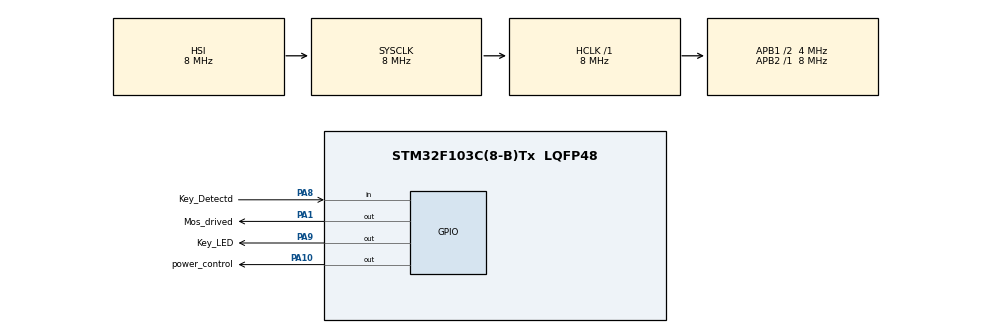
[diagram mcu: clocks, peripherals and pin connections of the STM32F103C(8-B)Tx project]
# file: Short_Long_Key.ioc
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Mcu.Family=STM32F1
Mcu.Name=STM32F103C(8-B)Tx
Mcu.Package=LQFP48
NVIC.PriorityGroup=NVIC_PRIORITYGROUP_4
PA1.GPIO_Label=Mos_drived
PA1.GPIO_Speed=GPIO_SPEED_FREQ_HIGH
PA1.Signal=GPIO_Output
PA10.GPIO_Label=power_control
PA10.GPIO_Speed=GPIO_SPEED_FREQ_HIGH
PA10.PinState=GPIO_PIN_SET
PA10.Signal=GPIO_Output
PA13.Mode=Serial_Wire
PA13.Signal=SYS_JTMS-SWDIO
PA14.Mode=Serial_Wire
PA14.Signal=SYS_JTCK-SWCLK
PA8.GPIO_Label=Key_Detectd
PA8.GPIO_PuPd=GPIO_PULLUP
PA8.Signal=GPIO_Input
PA9.GPIO_Label=Key_LED
PA9.GPIO_Speed=GPIO_SPEED_FREQ_HIGH
PA9.Signal=GPIO_Output
ProjectManager.HeapSize=0x200
ProjectManager.StackSize=0x400
ProjectManager.TargetToolchain=MDK-ARM V5.27
RCC.AHBFreq_Value=8000000
RCC.APB1CLKDivider=RCC_HCLK_DIV2
RCC.APB1Freq_Value=4000000
RCC.APB1TimFreq_Value=8000000
RCC.APB2Freq_Value=8000000
RCC.APB2TimFreq_Value=8000000
RCC.HCLKFreq_Value=8000000
RCC.PLLMUL=RCC_PLL_MUL16
RCC.SYSCLKFreq_VALUE=8000000
RCC.USBFreq_Value=64000000
board=custom

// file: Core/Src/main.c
/* USER CODE BEGIN Header */
/**
  ******************************************************************************
  * @file           : main.c
  * @brief          : Main program body
  ******************************************************************************
  * @attention
  *
  * <h2><center>&copy; Copyright (c) 2026 STMicroelectronics.
  * All rights reserved.</center></h2>
  *
  * This software component is licensed by ST under BSD 3-Clause license,
  * the "License"; You may not use this file except in compliance with the
  * License. You may obtain a copy of the License at:
  *                        opensource.org/licenses/BSD-3-Clause
  *
  ******************************************************************************
  */
/* USER CODE END Header */
#include "main.h"
#include "gpio.h"

/* USER CODE BEGIN PTD */
typedef enum
{
  WAIT_POWER_ON_CONFIRM = 0,  /* 开机确认阶段：第一次短按由硬件完成，软件等待松开后再检测第二次长按。 */
  NORMAL_RUN,                 /* 正常运行阶段：power_control(PA10) 保持高电平，系统已经自保持供电。 */
  WAIT_SHUTDOWN_CONFIRM,      /* 关机确认阶段：已检测到有效短按，等待窗口内的第二次长按。 */
  POWER_OFF                   /* 断电阶段：power_control(PA10) 已释放或即将释放，程序通常会随电源关闭停止运行。 */
} PowerState_t;

/* USER CODE END PTD */

/* USER CODE BEGIN PD */
/* 按键消抖时间：过小容易受抖动误触发，过大会让按键响应变迟钝。 */
#define KEY_DEBOUNCE_MS              30U
/* 有效短按的最短时间：过滤毛刺或极短误碰。 */
#define SHORT_PRESS_MIN_MS           50U
/* 有效短按的最长时间：超过该时间视为长按/无效按住，直接长按不能触发关机。 */
#define SHORT_PRESS_MAX_MS           500U

/* 短按释放后等待第二次按下的时间窗口：超时则本次“短按 + 长按”组合失效。 */
#define SECOND_PRESS_WINDOW_MS       2000U

/* 开机确认长按时间：第二次按下必须持续达到该时间，才确认开机成功。 */
#define POWER_ON_LONG_PRESS_MS       1000U
/* 关机确认长按时间：第二次按下必须持续达到该时间，才执行关机。 */
#define SHUTDOWN_LONG_PRESS_MS       1200U

/* 开机总确认超时：上电后若一直未完成释放和第二次长按，则释放 power_control(PA10) 让系统断电。 */
#define POWER_ON_CONFIRM_TIMEOUT_MS  4500U

/* Key_Detectd(PA8) is pulled up: released is high and a pressed key reads low. */
/* Key_Detectd(PA8) 为上拉输入：松开为高电平，按下为低电平；以后更换硬件电平时集中改这里。 */
#define KEY_PRESSED_LEVEL            GPIO_PIN_RESET
#define KEY_RELEASED_LEVEL           GPIO_PIN_SET

/* Legacy PB5 debug LED is active low; it is not used on the second board revision. */
/* 旧版 PB5 调试 LED 为低电平点亮；第二版硬件不再使用该引脚。 */
#define LED_ON_LEVEL                 GPIO_PIN_RESET
#define LED_OFF_LEVEL                GPIO_PIN_SET
/* 等待确认阶段的 LED 闪烁周期，用于提示当前处于开机/关机确认流程。 */
#define DEBUG_LED_BLINK_MS           250U
#define Key_LED_BLINK_MS             250U

#define Key_LED_ON_LEVEL               GPIO_PIN_SET
#define Key_LED_OFF_LEVEL              GPIO_PIN_RESET
/* USER CODE END PD */

/* USER CODE BEGIN PV */
/* 电源控制主状态：开机确认、正常运行、关机确认、断电。 */
static PowerState_t power_state;

/* 按键消抖相关变量：raw 为瞬时采样值，stable 为消抖后的稳定电平。 */
static GPIO_PinState key_raw_level;
static GPIO_PinState key_stable_level;
static uint32_t key_raw_change_tick;

/* 按键事件时间：记录按下起点和最近一次释放时的持续时间。 */
static uint32_t key_press_start_tick;
static uint32_t key_last_press_duration_ms;

/* 组合按键时间窗口：分别用于开机总超时和第二次按下窗口。 */
static uint32_t power_on_attempt_tick;
static uint32_t confirm_window_start_tick;

/* 单次循环内的边沿事件：消抖确认后置位，任务处理完后下次 Key_Update 会清零。 */
static uint8_t key_press_event;
static uint8_t key_release_event;

/* 开机/关机确认流程的阶段标志。 */
static uint8_t power_on_first_release_seen;
static uint8_t second_press_started;

/* USER CODE END PV */

void SystemClock_Config(void);
/* USER CODE BEGIN PFP */
static void Power_Hold_Early_Init(void);
static void Power_Hold_On(void);
static void Power_Hold_Off(void);
static void MOS_Driven_On(void);
static void MOS_Driven_Off(void);
// static void Debug_LED_Set(uint8_t led_on);
static void Key_LED_Set(uint8_t led_on);
static void Key_LED_Update(uint32_t now);
static uint8_t Time_Elapsed(uint32_t now, uint32_t start, uint32_t period);
static uint8_t Key_Is_Pressed(void);
static void Key_Update(uint32_t now);
static void Power_Key_Control_Init(void);
static void Power_Key_Control_Task(void);
static void Cancel_Power_On(void);
static void Shutdown_Prepare(void);

/* USER CODE END PFP */

/* USER CODE BEGIN 0 */
/**
  * @brief  拉高 power_control(PA10)，保持系统自保持供电。
  * @note   power_control 输出高电平时三极管导通，按键松开后系统仍能继续供电。
  */
static void Power_Hold_On(void)
{
  HAL_GPIO_WritePin(power_control_GPIO_Port, power_control_Pin, GPIO_PIN_SET);
}

/**
  * @brief  拉低 power_control(PA10)，释放电源保持。
  * @note   power_control 输出低电平时三极管关断，硬件电源会关闭，系统即将断电。
  */
static void Power_Hold_Off(void)
{
  HAL_GPIO_WritePin(power_control_GPIO_Port, power_control_Pin, GPIO_PIN_RESET);
}

/**
  * @brief  拉高 Mos_drived_Pin，驱动 MOS 管导通。
  * @note   Mos_drived_Pin 输出高电平时 MOS 管导通，允许电流通过。
  */
static void MOS_Driven_On(void)
{
  HAL_GPIO_WritePin(Mos_drived_GPIO_Port, Mos_drived_Pin, GPIO_PIN_SET);
}

/**
  * @brief  拉低 Mos_drived_Pin，关闭 MOS 管。
  * @note   Mos_drived_Pin 输出低电平时 MOS 管关闭，不允许电流通过。
  */
static void MOS_Driven_Off(void)
{
  HAL_GPIO_WritePin(Mos_drived_GPIO_Port, Mos_drived_Pin, GPIO_PIN_RESET);
}

/**
  * @brief  尽早初始化 power_control(PA10) 并拉高，避免启动确认前掉电。
  * @note   开机时第一次短按由硬件完成；STM32 上电后要先自保持，再等待第二次长按确认。
  */
static void Power_Hold_Early_Init(void)
{
  GPIO_InitTypeDef GPIO_InitStruct = {0};

  /*
   * Drive the hold pin before ordinary peripheral initialization.  Setting the
   * output latch first avoids a low pulse while power_control changes to output mode.
   */
  /* 先打开 GPIOA 时钟，再写 power_control 输出锁存器，减少进入输出模式时出现低脉冲的风险。 */
  __HAL_RCC_GPIOA_CLK_ENABLE();
  Power_Hold_On();
  GPIO_InitStruct.Pin = power_control_Pin;
  GPIO_InitStruct.Mode = GPIO_MODE_OUTPUT_PP;
  GPIO_InitStruct.Pull = GPIO_NOPULL;
  GPIO_InitStruct.Speed = GPIO_SPEED_FREQ_HIGH;
  HAL_GPIO_Init(power_control_GPIO_Port, &GPIO_InitStruct);
  Power_Hold_On();
}

// /**
//   * @brief  设置旧版 PB5 调试 LED 状态。
//   * @param  led_on 非 0 点亮 LED，0 熄灭 LED。
//   * @note   PB5 为低电平点亮、高电平熄灭；第二版硬件不再使用该调试 LED。
//   */
// static void Debug_LED_Set(uint8_t led_on)
// {
//   HAL_GPIO_WritePin(LED_GPIO_Port, LED_Pin,
//                     (led_on != 0U) ? LED_ON_LEVEL : LED_OFF_LEVEL);
// }

/**
  * @brief  设置按键自带 LED 状态。
  * @param  led_on 非 0 点亮 LED，0 熄灭 LED。
  * @note   Key_LED(PA9) 高电平点亮、低电平熄灭；用于提示组合按键状态。
  */
static void Key_LED_Set(uint8_t led_on)
{
  HAL_GPIO_WritePin(Key_LED_GPIO_Port, Key_LED_Pin,
                    (led_on != 0U) ? Key_LED_ON_LEVEL : Key_LED_OFF_LEVEL);
}

/**
  * @brief  判断指定毫秒时间是否已经过去。
  * @note   now 通常来自 HAL_GetTick()，该计数由 SysTick 提供，单位为 ms。
  */
static uint8_t Time_Elapsed(uint32_t now, uint32_t start, uint32_t period)
{
  return (((uint32_t)(now - start)) >= period) ? 1U : 0U;
}

/**
  * @brief  读取消抖后的按键状态。
  * @retval 1 按键按下；0 按键松开。
  * @note   Key_Detectd(PA8) 上拉输入，稳定电平为 KEY_PRESSED_LEVEL 时表示按键被按下。
  */
static uint8_t Key_Is_Pressed(void)
{
  return (key_stable_level == KEY_PRESSED_LEVEL) ? 1U : 0U;
}

/**
  * @brief  按键消抖和边沿事件更新。
  * @param  now 当前毫秒计时值，来自 HAL_GetTick()。
  * @note   需要在主循环中周期调用；它只生成按下/释放事件，不直接改变电源状态。
  */
static void Key_Update(uint32_t now)
{
  GPIO_PinState sampled_level;

  /* 每轮先清除边沿事件，只有本轮确认了新的稳定电平变化才重新置位。 */
  key_press_event = 0U;
  key_release_event = 0U;

  /* 读取 Key_Detectd(PA8) 原始电平：上拉输入下，松开为高，按下为低。 */
  sampled_level = HAL_GPIO_ReadPin(Key_Detectd_GPIO_Port, Key_Detectd_Pin);

  if (sampled_level != key_raw_level)
  {
    /* 原始电平发生变化时只记录变化时刻，等电平稳定超过消抖时间后才承认。 */
    key_raw_level = sampled_level;
    key_raw_change_tick = now;
  }

  if ((key_stable_level != key_raw_level) &&
      (Time_Elapsed(now, key_raw_change_tick, KEY_DEBOUNCE_MS) != 0U))
  {
    /* 原始电平持续稳定超过 KEY_DEBOUNCE_MS，才更新为正式按键状态。 */
    key_stable_level = key_raw_level;

    if (Key_Is_Pressed() != 0U)
    {
      /* 确认一次按下边沿，记录按下开始时间，后续用于判断长按时长。 */
      key_press_start_tick = now;
      key_press_event = 1U;
    }
    else
    {
      /* 确认一次释放边沿，计算本次按住多久，后续用于判断是否为有效短按。 */
      key_last_press_duration_ms = (uint32_t)(now - key_press_start_tick);
      key_release_event = 1U;
    }
  }
}

/**
  * @brief  电源按键状态机初始化。
  * @note   GPIO 初始化后调用；会保持 power_control(PA10) 高电平，并进入开机确认等待状态。
  */
static void Power_Key_Control_Init(void)
{
  uint32_t now = HAL_GetTick();

  /* 再次拉高 power_control(PA10)，确保系统进入自保持供电；Key_LED 默认熄灭。 */
  Power_Hold_On();
  // Debug_LED_Set(0U);

  key_raw_level = HAL_GPIO_ReadPin(Key_Detectd_GPIO_Port, Key_Detectd_Pin);
  /*
   * At startup hardware has already supplied the first short press.  Begin as
   * "pressed" so a debounced release is required before a second press counts.
   */
  /*
   * 开机时 STM32 原本断电，无法完整检测第一次短按。
   * 因此软件默认“第一次短按已经由硬件完成”，这里只等待用户松开后再做第二次长按确认。
   */
  key_stable_level = KEY_PRESSED_LEVEL;
  key_raw_change_tick = now;
  key_press_start_tick = now;
  key_last_press_duration_ms = 0U;
  key_press_event = 0U;
  key_release_event = 0U;
  power_on_first_release_seen = 0U;
  second_press_started = 0U;
  power_on_attempt_tick = now;
  confirm_window_start_tick = now;
  /* 初始进入开机确认状态；若后续确认失败，会拉低 power_control(PA10) 自动断电。 */
  power_state = WAIT_POWER_ON_CONFIRM;
}

/**
  * @brief  取消开机确认并释放电源保持。
  * @note   开机确认超时或第二次长按不足时调用，会拉低 power_control(PA10)，系统即将断电。
  */
static void Cancel_Power_On(void)
{
  /* No valid startup confirmation: release the temporary power latch. */
  /* 没有得到有效开机确认，熄灭提示 LED 后释放 power_control(PA10)。 */
  // Debug_LED_Set(0U);
  power_state = POWER_OFF;
  Power_Hold_Off();
}

/**
  * @brief  关机前准备入口。
  * @note   当前为空实现；以后可在这里保存数据、关闭外设，再由状态机拉低 power_control(PA10)。
  */
static void Shutdown_Prepare(void)
{
  /* Reserved for saving data or stopping peripherals before power is removed. */
}

/**
  * @brief  根据当前电源状态刷新 Key_LED(PA9)。
  * @note   等待确认时闪烁，正常运行时常亮，断电流程中熄灭。
  */
static void Key_LED_Update(uint32_t now)
{
  switch (power_state)
  {
    case WAIT_POWER_ON_CONFIRM:
    case WAIT_SHUTDOWN_CONFIRM:
      /* 开机/关机确认阶段闪烁，提示用户当前正在等待第二次长按。 */
      // Debug_LED_Set((((now / DEBUG_LED_BLINK_MS) & 1U) != 0U) ? 1U : 0U);
      Key_LED_Set((((now / Key_LED_BLINK_MS) & 1U)) != 0U ? 1U : 0U);
      break;

    case NORMAL_RUN:
      /* 正常运行阶段常亮，表示 power_control(PA10) 已保持高电平，系统供电有效。 */
      // Debug_LED_Set(1U);
      Key_LED_Set(1U);
      break;

    case POWER_OFF:
    default:
      /* 断电阶段熄灭；Key_LED 不参与电源控制，只做状态提示。 */
      // Debug_LED_Set(0U);
      Key_LED_Set(0U);
      break;
  }
}

/**
  * @brief  电源按键主状态机任务。
  * @note   必须在 while(1) 中周期调用；所有短按、长按、超时判断都在这里完成。
  */
static void Power_Key_Control_Task(void)
{
  /* HAL_GetTick() 基于 SysTick，提供毫秒级计时，用于消抖和长按/超时判断。 */
  uint32_t now = HAL_GetTick();

  Key_Update(now);

  switch (power_state)
  {
    case WAIT_POWER_ON_CONFIRM:
      /* 开机确认：第一次短按由硬件完成，软件只负责等待松开和第二次长按。 */
      /*
       * The hardware-created startup attempt has one total deadline.  Its
       * first stable release arms the time window for the confirming hold.
       */
      if (Time_Elapsed(now, power_on_attempt_tick,
                       POWER_ON_CONFIRM_TIMEOUT_MS) != 0U)
      {
        /* 开机确认总超时：用户没有完成后续长按，释放 power_control(PA10) 让系统断电。 */
        Cancel_Power_On();
        break;
      }

      if (power_on_first_release_seen == 0U)
      {
        /* 必须先等用户松开硬件触发的第一次按键，避免把同一次按住误判为第二次长按。 */
        if (Key_Is_Pressed() == 0U)
        {
          /* 第一次按键已经松开，从这里开始计算第二次按下的有效时间窗口。 */
          power_on_first_release_seen = 1U;
          confirm_window_start_tick = now;
          second_press_started = 0U;
        }
        break;
      }

      if (second_press_started == 0U)
      {
        /* 第二次按下必须发生在窗口内，超时说明本次开机确认无效。 */
        if (Time_Elapsed(now, confirm_window_start_tick,
                         SECOND_PRESS_WINDOW_MS) != 0U)
        {
          Cancel_Power_On();
          break;
        }

        if (key_press_event != 0U)
        {
          /* 捕获第二次按下边沿，后续开始检测它是否能持续到开机长按时间。 */
          second_press_started = 1U;
        }
        break;
      }

      if (key_release_event != 0U)
      {
        /*
         * An incomplete confirming hold is treated as a failed startup.
         * A new attempt must begin from hardware after power is released.
         */
        /* 第二次长按时间不够就松开，本次开机确认失败，直接释放 power_control(PA10)。 */
        Cancel_Power_On();
        break;
      }

      if ((Key_Is_Pressed() != 0U) &&
          (Time_Elapsed(now, key_press_start_tick,
                        POWER_ON_LONG_PRESS_MS) != 0U))
      {
        /* 第二次按下持续达到开机确认长按时间，开机成功并进入正常运行。 */
        second_press_started = 0U;

        //在程序进入稳定运行状态，先把MOS通道打开
        MOS_Driven_On();

        power_state = NORMAL_RUN;
      }
      break;

    case NORMAL_RUN:
      /* 正常运行：只有“有效短按释放”才能进入关机确认；直接长按会被忽略。 */
      /*
       * Shutdown can only be armed by a completed short press.  A direct
       * long press ends with a duration above SHORT_PRESS_MAX_MS and is ignored.
       */
      if ((key_release_event != 0U) &&
          (key_last_press_duration_ms >= SHORT_PRESS_MIN_MS) &&
          (key_last_press_duration_ms <= SHORT_PRESS_MAX_MS))
      {
        /* 有效短按：按下时间处于短按范围内，开始等待第二次关机长按。 */
        confirm_window_start_tick = now;
        second_press_started = 0U;
        power_state = WAIT_SHUTDOWN_CONFIRM;
      }
      break;

    case WAIT_SHUTDOWN_CONFIRM:
      /* 关机确认：短按已完成，等待窗口内第二次按下并保持到关机长按时间。 */
      if (second_press_started == 0U)
      {
        /* 短按后超过窗口仍没有第二次按下，取消本次关机组合，回到正常运行。 */
        if (Time_Elapsed(now, confirm_window_start_tick,
                         SECOND_PRESS_WINDOW_MS) != 0U)
        {
          power_state = NORMAL_RUN;
          break;
        }

        if (key_press_event != 0U)
        {
          /* 捕获第二次按下边沿，后续开始检查是否达到关机长按时间。 */
          second_press_started = 1U;
        }
        break;
      }

      if (key_release_event != 0U)
      {
        /* Incomplete second press cancels shutdown; require a fresh short press. */
        /* 第二次按下时间不够就松开，不允许关机，必须重新短按再确认。 */
        second_press_started = 0U;
        power_state = NORMAL_RUN;
        break;
      }

      if ((Key_Is_Pressed() != 0U) &&
          (Time_Elapsed(now, key_press_start_tick,
                        SHUTDOWN_LONG_PRESS_MS) != 0U))
      {
        /* 第二次按下达到关机长按时间：先做关机准备，再拉低 power_control(PA10) 断电。 */
        Shutdown_Prepare();
        // Debug_LED_Set(0U);

        //在单片机断电之前，先把MOS通道断开
        MOS_Driven_Off();

        power_state = POWER_OFF;
        Power_Hold_Off();
      }
      break;

    case POWER_OFF:
    default:
      /* POWER_OFF 下不再做新的按键流程，等待硬件电源真正关闭。 */
      break;
  }

  Key_LED_Update(now);
}

/* USER CODE END 0 */

int main(void)
{

  /* MCU Configuration--------------------------------------------------------*/

  /* Reset of all peripherals, Initializes the Flash interface and the Systick. */
  HAL_Init();

  /* USER CODE BEGIN Init */
  /* HAL_Init() 会启动 SysTick；后续 HAL_GetTick() 用它做毫秒级计时。 */
  /* 这里尽早拉高 power_control(PA10)，避免开机按键松开后系统立刻掉电。 */
  Power_Hold_Early_Init();

  /* USER CODE END Init */

  /* Configure the system clock */
  SystemClock_Config();

  /* Initialize all configured peripherals */
  MX_GPIO_Init();
  /* USER CODE BEGIN 2 */
  /* GPIO 全部初始化完成后，进入开机确认状态机。 */
  Power_Key_Control_Init();

  //这两个引脚是临时测试功能使用的
  //这个工程是GitHub下拉的Short_Long_Switch
  // HAL_GPIO_WritePin(Key_LED_GPIO_Port, Key_LED_Pin, GPIO_PIN_SET);  /* 上电后先点亮 Key_LED，表示系统已开始运行；后续状态由 Power_Key_Control_Task 刷新。 */
  // HAL_GPIO_WritePin(Mos_drived_GPIO_Port, Mos_drived_Pin, GPIO_PIN_SET);
  /* USER CODE END 2 */

  /* Infinite loop */
  while (1)
  {

    /* USER CODE BEGIN 3 */
    /* 非阻塞周期任务：持续处理按键消抖、短按+长按组合和电源保持控制。 */
    Power_Key_Control_Task();
  }
  /* USER CODE END 3 */
}

void SystemClock_Config(void)
{
  RCC_OscInitTypeDef RCC_OscInitStruct = {0};
  RCC_ClkInitTypeDef RCC_ClkInitStruct = {0};

  /** Initializes the RCC Oscillators according to the specified parameters
  * in the RCC_OscInitTypeDef structure.
  */
  RCC_OscInitStruct.OscillatorType = RCC_OSCILLATORTYPE_HSI;
  RCC_OscInitStruct.HSIState = RCC_HSI_ON;
  RCC_OscInitStruct.HSICalibrationValue = RCC_HSICALIBRATION_DEFAULT;
  RCC_OscInitStruct.PLL.PLLState = RCC_PLL_NONE;
  if (HAL_RCC_OscConfig(&RCC_OscInitStruct) != HAL_OK)
  {
    Error_Handler();
  }
  /** Initializes the CPU, AHB and APB buses clocks
  */
  RCC_ClkInitStruct.ClockType = RCC_CLOCKTYPE_HCLK|RCC_CLOCKTYPE_SYSCLK
                              |RCC_CLOCKTYPE_PCLK1|RCC_CLOCKTYPE_PCLK2;
  RCC_ClkInitStruct.SYSCLKSource = RCC_SYSCLKSOURCE_HSI;
  RCC_ClkInitStruct.AHBCLKDivider = RCC_SYSCLK_DIV1;
  RCC_ClkInitStruct.APB1CLKDivider = RCC_HCLK_DIV2;
  RCC_ClkInitStruct.APB2CLKDivider = RCC_HCLK_DIV1;

  if (HAL_RCC_ClockConfig(&RCC_ClkInitStruct, FLASH_LATENCY_0) != HAL_OK)
  {
    Error_Handler();
  }
}

void Error_Handler(void)
{
  __disable_irq();
  while (1)
  {
  }
}

/************************ (C) COPYRIGHT STMicroelectronics *****END OF FILE****/
